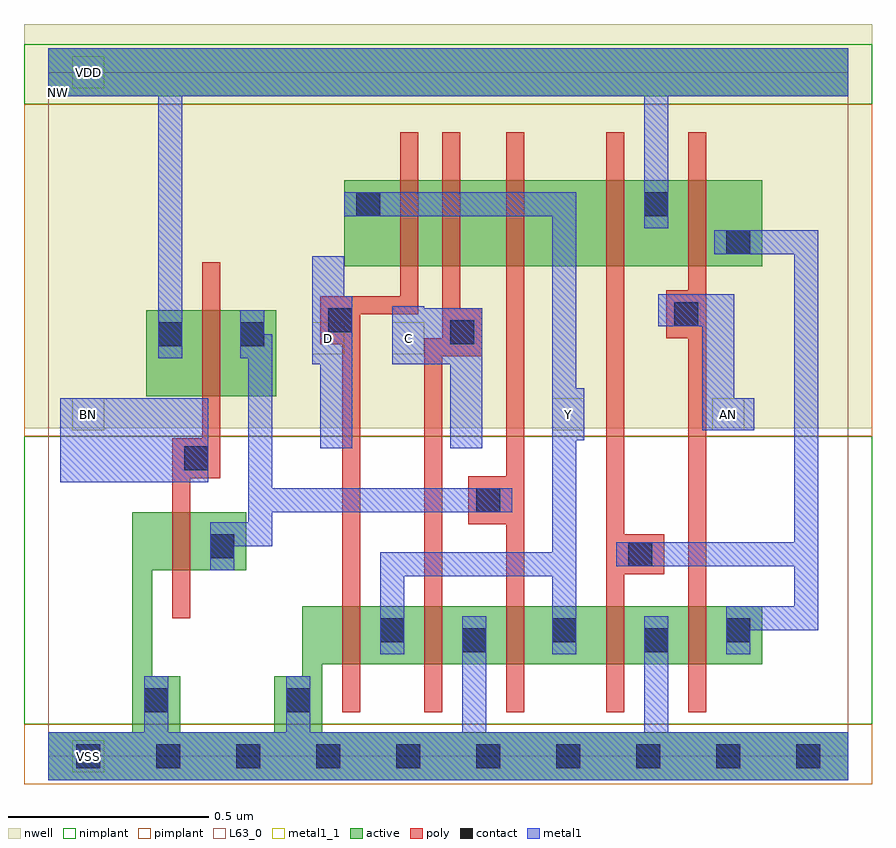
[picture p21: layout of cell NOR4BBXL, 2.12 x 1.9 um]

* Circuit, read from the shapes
.subckt NOR4BBXL AN BN C D NW VDD VSS Y
M1 n1 BN VSS VSS nfet w=0.145u l=0.045u
M2 Y D VSS VSS nfet w=0.145u l=0.045u
M3 VSS C Y VSS nfet w=0.145u l=0.045u
M4 Y n1 VSS VSS nfet w=0.145u l=0.045u
M5 VSS n2 Y VSS nfet w=0.145u l=0.045u
M6 n2 AN VSS VSS nfet w=0.145u l=0.045u
M7 n1 BN VDD NW pfet w=0.215u l=0.045u
M8 n3 D Y NW pfet w=0.215u l=0.045u
M9 n4 C n3 NW pfet w=0.215u l=0.045u
M10 n5 n1 n4 NW pfet w=0.215u l=0.045u
M11 VDD n2 n5 NW pfet w=0.215u l=0.045u
M12 n2 AN VDD NW pfet w=0.215u l=0.045u
.ends

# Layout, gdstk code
import gdstk
lib = gdstk.Library(unit=1e-6, precision=5e-10)
def R(c, l, rs):  # rectangles x0, y0, x1, y1
    for r in rs: c.add(gdstk.rectangle(r[:2], r[2:], *l))
def A(c, l, x, y, w, h, nx, ny, dx, dy):  # array of equal rectangles
    R(c, l, [(x+i*dx, y+j*dy, x+i*dx+w, y+j*dy+h) for i in range(nx) for j in range(ny)])
def P(c, l, *ps):  # polygons
    for p in ps: c.add(gdstk.Polygon(p, *l))
active = (1, 0)
nwell = (2, 0)
poly = (3, 0)
nimplant = (4, 0)
pimplant = (5, 0)
contact = (6, 0)
metal1 = (7, 0)
metal1_1 = (7, 1)
L63_0 = (63, 0)

nor4bbxl = lib.new_cell('NOR4BBXL')
R(nor4bbxl, active, [(0,-0.06,2,0.06), (0.245,0.9,0.57,1.115), (0.74,1.225,1.785,1.44), (0,1.65,2,1.77)])
P(nor4bbxl, active, [(1.785,0.375),(0.635,0.375),(0.635,0.2),(0.565,0.2),(0.565,0.06),(0.685,0.06),(0.685,0.23),(1.785,0.23)],
  [(0.495,0.61),(0.21,0.61),(0.21,0.06),(0.33,0.06),(0.33,0.2),(0.26,0.2),(0.26,0.465),(0.495,0.465)])
R(nor4bbxl, nwell, [(-0.06,0.82,2.06,1.83), (0,1.61,0.05,1.71)])
P(nor4bbxl, poly, [(0.88,1.56),(0.925,1.56),(0.925,1.105),(0.78,1.105),(0.78,0.11),(0.735,0.11),(0.735,1.03),(0.68,1.03),(0.68,1.15),(0.88,1.15)],
  [(0.985,1.56),(1.03,1.56),(1.03,1.12),(1.085,1.12),(1.085,1),(0.985,1),(0.985,0.11),(0.94,0.11),(0.94,1.045),(0.985,1.045)],
  [(1.145,1.56),(1.19,1.56),(1.19,0.11),(1.145,0.11),(1.145,0.58),(1.05,0.58),(1.05,0.7),(1.145,0.7)],
  [(1.395,1.56),(1.44,1.56),(1.44,0.555),(1.54,0.555),(1.54,0.455),(1.44,0.455),(1.44,0.11),(1.395,0.11)],
  [(1.6,1.56),(1.645,1.56),(1.645,0.11),(1.6,0.11),(1.6,1.045),(1.545,1.045),(1.545,1.165),(1.6,1.165)],
  [(0.385,1.235),(0.43,1.235),(0.43,0.695),(0.355,0.695),(0.355,0.345),(0.31,0.345),(0.31,0.795),(0.385,0.795)])
R(nor4bbxl, nimplant, [(-0.06,0.08,2.06,0.8), (-0.06,1.63,2.06,1.78)])
R(nor4bbxl, pimplant, [(-0.06,-0.07,2.06,0.08), (-0.06,0.8,2.06,1.63)])
A(nor4bbxl, contact, 0.07, -0.03, 0.06, 0.06, 10, 1, 0.2, 0)
R(nor4bbxl, contact, [(0.24,0.11,0.3,0.17), (0.595,0.11,0.655,0.17), (1.035,0.26,1.095,0.32), (1.49,0.26,1.55,0.32), (0.83,0.285,0.89,0.345), (1.26,0.285,1.32,0.345), (1.695,0.285,1.755,0.345), (1.45,0.475,1.51,0.535), (0.405,0.495,0.465,0.555), (1.07,0.61,1.13,0.67), (0.34,0.715,0.4,0.775), (0.275,1.025,0.335,1.085), (0.48,1.025,0.54,1.085), (1.005,1.03,1.065,1.09), (0.7,1.06,0.76,1.12), (1.565,1.075,1.625,1.135), (1.695,1.255,1.755,1.315), (0.77,1.35,0.83,1.41), (1.49,1.35,1.55,1.41)])
R(nor4bbxl, metal1, [(0.24,0.06,0.3,0.2), (0.595,0.06,0.655,0.2), (1.035,0.06,1.095,0.35), (1.49,0.06,1.55,0.35), (0.03,0.685,0.4,0.895), (0.275,0.995,0.335,1.65), (1.49,1.32,1.55,1.65)])
P(nor4bbxl, metal1, [(0.74,1.41),(1.32,1.41),(1.32,0.92),(1.34,0.92),(1.34,0.79),(1.32,0.79),(1.32,0.255),(1.26,0.255),(1.26,0.45),(0.89,0.45),(0.89,0.255),(0.83,0.255),(0.83,0.51),(1.26,0.51),(1.26,1.35),(0.74,1.35)],
  [(0.48,1.115),(0.54,1.115),(0.54,1.055),(0.56,1.055),(0.56,0.67),(1.16,0.67),(1.16,0.61),(0.56,0.61),(0.56,0.525),(0.465,0.525),(0.465,0.465),(0.405,0.465),(0.405,0.585),(0.5,0.585),(0.5,0.995),(0.48,0.995)],
  [(0.66,1.25),(0.74,1.25),(0.74,1.15),(0.76,1.15),(0.76,0.77),(0.68,0.77),(0.68,0.98),(0.66,0.98)],
  [(0.86,1.125),(0.94,1.125),(0.94,1.12),(1.085,1.12),(1.085,0.77),(1.005,0.77),(1.005,0.98),(0.86,0.98)],
  [(1.665,1.315),(1.925,1.315),(1.925,0.315),(1.755,0.315),(1.755,0.255),(1.695,0.255),(1.695,0.375),(1.865,0.375),(1.865,0.475),(1.42,0.475),(1.42,0.535),(1.865,0.535),(1.865,1.255),(1.665,1.255)],
  [(1.525,1.155),(1.715,1.155),(1.715,0.895),(1.765,0.895),(1.765,0.815),(1.635,0.815),(1.635,1.075),(1.525,1.075)])
A(nor4bbxl, metal1_1, 0.06, -0.04, 0.08, 0.08, 1, 3, 0, 0.855)
R(nor4bbxl, metal1_1, [(1.26,0.815,1.34,0.895), (1.66,0.815,1.74,0.895), (0.66,1.005,0.74,1.085), (0.86,1.005,0.94,1.085)])
R(nor4bbxl, L63_0, [(0,0,2,1.71)])
nor4bbxl.add(gdstk.FlexPath([(0,0),(2,0)], 0.12, ends="flush", simple_path=True, layer=7, datatype=0))  # metal1
nor4bbxl.add(gdstk.FlexPath([(0,1.71),(2,1.71)], 0.12, ends="flush", simple_path=True, layer=7, datatype=0))  # metal1
nor4bbxl.add(gdstk.Label('Y', (1.3,0.855), layer=7, texttype=1))
nor4bbxl.add(gdstk.Label('D', (0.7,1.045), layer=7, texttype=1))
nor4bbxl.add(gdstk.Label('C', (0.9,1.045), layer=7, texttype=1))
nor4bbxl.add(gdstk.Label('AN', (1.7,0.855), layer=7, texttype=1))
nor4bbxl.add(gdstk.Label('BN', (0.1,0.855), layer=7, texttype=1))
nor4bbxl.add(gdstk.Label('VDD', (0.1,1.71), layer=7, texttype=1))
nor4bbxl.add(gdstk.Label('VSS', (0.1,0), layer=7, texttype=1))
nor4bbxl.add(gdstk.Label('VSS', (0.1,0), layer=7, texttype=1))
nor4bbxl.add(gdstk.Label('VDD', (0.1,1.71), layer=7, texttype=1))
nor4bbxl.add(gdstk.Label('BN', (0.1,0.855), layer=7, texttype=1))
nor4bbxl.add(gdstk.Label('C', (0.9,1.045), layer=7, texttype=1))
nor4bbxl.add(gdstk.Label('D', (0.7,1.045), layer=7, texttype=1))
nor4bbxl.add(gdstk.Label('Y', (1.3,0.855), layer=7, texttype=1))
nor4bbxl.add(gdstk.Label('AN', (1.7,0.855), layer=7, texttype=1))
nor4bbxl.add(gdstk.Label('NOR4BBXL', (0,0), layer=63, texttype=0))
nor4bbxl.add(gdstk.Label('NW', (0.025,1.66), layer=2, texttype=0))
nor4bbxl.add(gdstk.Label('NW', (0.025,1.63), layer=2, texttype=0))

lib.write_gds('NOR4BBXL.gds')
